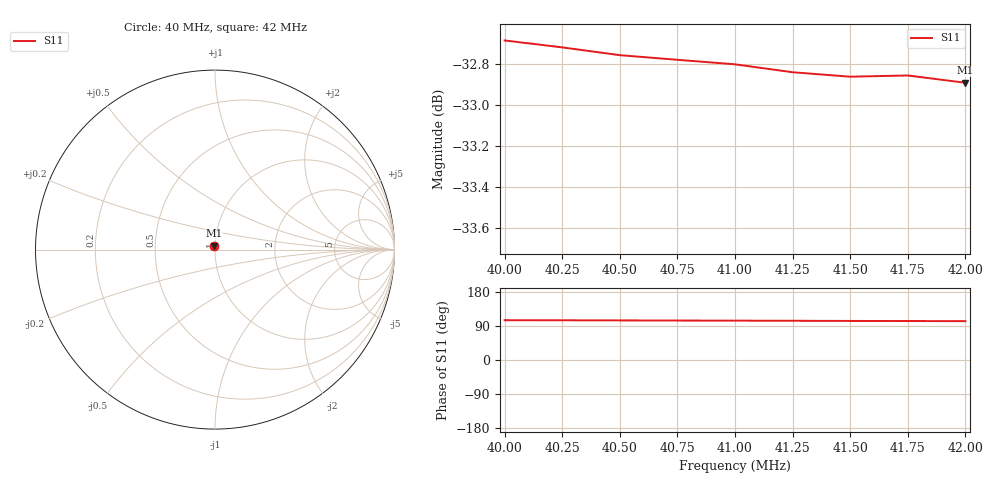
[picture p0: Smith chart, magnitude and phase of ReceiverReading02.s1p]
# Hz S RI R 50
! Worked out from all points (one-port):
!   9 points, 40 MHz to 42 MHz, reference 50 ohm
!   lowest |S11| = -32.9 dB at 42 MHz (marker M1), VSWR 1.05, Z = 49.5 + j2.19 ohm
!   |S11| at or under -10 dB: start of sweep to end of sweep
4e7  -0.00602 0.0224
4.025e7  -0.0059 0.0224
4.05e7  -0.00574 0.0223
4.075e7  -0.00561 0.0223
4.1e7  -0.00548 0.0222
4.125e7  -0.00532 0.0222
4.15e7  -0.00515 0.0221
4.175e7  -0.00505 0.0222
4.2e7  -0.0049 0.0221
